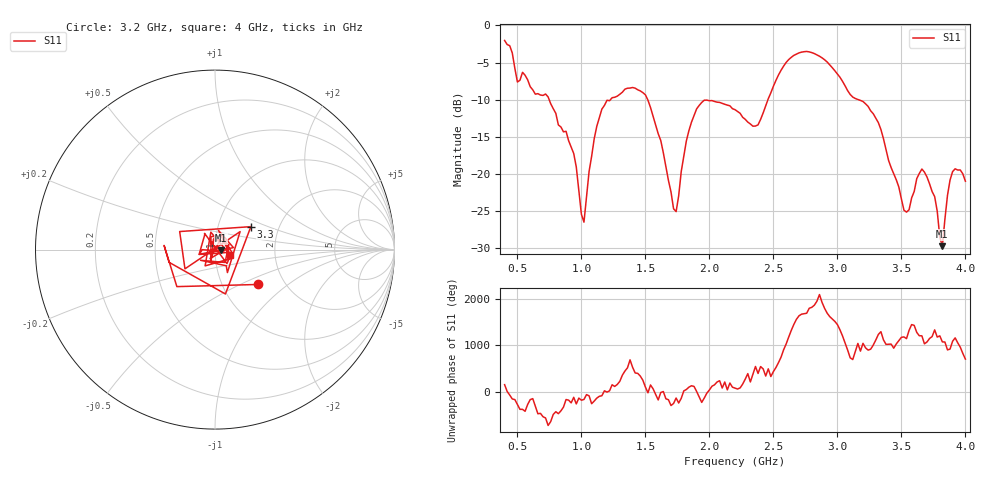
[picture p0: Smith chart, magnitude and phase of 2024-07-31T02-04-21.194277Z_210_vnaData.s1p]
!Created with skrf (http://scikit-rf.org).
# Hz S RI R 50.0
!freq ReS11 ImS11
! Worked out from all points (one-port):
!   181 points, 400 MHz to 4 GHz, reference 50 ohm
!   lowest |S11| = -29.8 dB at 3.82 GHz (marker M1), VSWR 1.07, Z = 53.3 - j0.441 ohm
!   |S11| at or under -10 dB: 747.8 MHz to 1.227 GHz (479.5 MHz wide, 48.6 % of centre); 1.518 GHz to 2.457 GHz (939.8 MHz wide, 47.3 % of centre); 3.162 GHz to end of sweep
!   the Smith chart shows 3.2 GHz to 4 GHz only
!   S11 on the Smith chart (normalised r, x): 3.2 GHz: 1.46, -0.63; 3.3 GHz: 1.44, +0.39; 4 GHz: 1.18, -0.07
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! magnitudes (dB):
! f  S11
! 400 MHz  -2.0
! 500 MHz  -7.6
! 720 MHz  -9.2
! 860 MHz  -14.4
! 940 MHz  -17.3
! 1.02 GHz  -26.5
! 1.12 GHz  -13.6
! 1.3 GHz  -9.3
! 1.5 GHz  -9.4
! 1.62 GHz  -15.5
! 1.72 GHz  -24.7
! 1.76 GHz  -23.0
! 1.82 GHz  -15.6
! 1.9 GHz  -11.3
! 2.2 GHz  -11.4
! 2.38 GHz  -13.4
! 2.66 GHz  -4.0
! 2.88 GHz  -4.4
! 3.1 GHz  -9.3
! 3.2 GHz  -10.3
! 3.3 GHz  -12.5
! 3.52 GHz  -24.9
! 3.56 GHz  -24.9
! 3.66 GHz  -19.4
! 3.76 GHz  -23.1
! 3.82 GHz  -29.8
! 3.9 GHz  -19.7
! 4 GHz  -21.0
